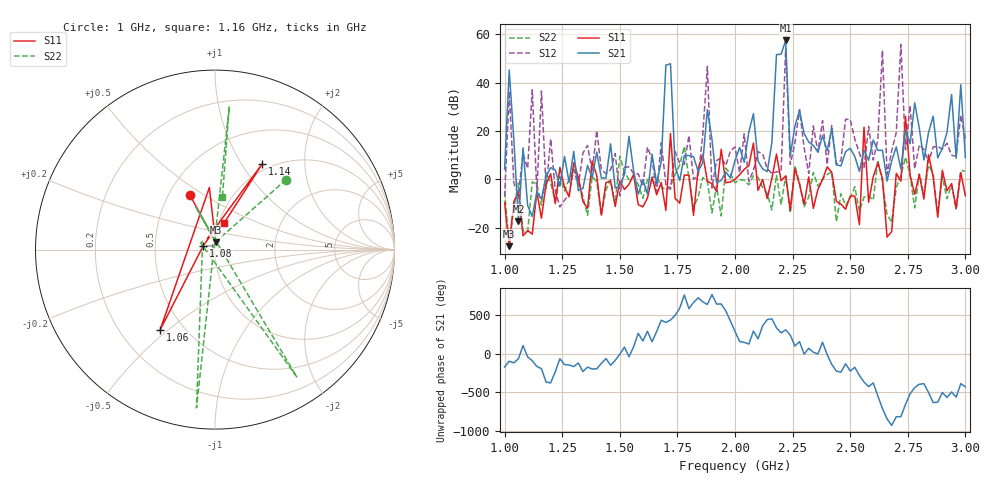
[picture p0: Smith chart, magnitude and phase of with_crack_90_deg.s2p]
# MHz S MA R 50
!  freq  S11  S21  S12  S22
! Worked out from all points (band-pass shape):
!   101 points, 1 GHz to 3 GHz, reference 50 ohm
!   highest |S21| = 57.42 dB at 2.22 GHz (marker M1); lowest = -17.3 dB at 1.06 GHz (marker M2)
!   |S21| within 3 dB of the highest: 2.209 GHz to 2.221 GHz (11.86 MHz wide, 0.535 % of centre)
!   lowest |S11| = -27.6 dB at 1.02 GHz (marker M3), VSWR 1.09, Z = 50.1 + j4.19 ohm
!   |S11| at or under -10 dB: 1.065 GHz to 1.135 GHz (69.32 MHz wide, 6.3 % of centre); 1.579 GHz to 1.607 GHz (27.99 MHz wide, 1.76 % of centre); 2.456 GHz to 2.489 GHz (32.41 MHz wide, 1.31 % of centre) (the widest 3 of 17)
!   |S22| runs from -27.5 to 13.6 dB; largest |S21 - S12| = 6.1e+02
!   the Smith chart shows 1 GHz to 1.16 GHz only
!   S11 on the Smith chart (normalised r, x): 1 GHz: 0.64, +0.44; 1.06 GHz: 0.37, -0.47; 1.08 GHz: 0.88, +0.04; 1.14 GHz: 0.91, +1.24; 1.16 GHz: 1.06, +0.32
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1000  0.3322 114.7  1.629 -172.1  0.4442 -174.9  0.5563 44.5
1020  0.04179 85.8  181.9 -97.3  65.19 -91.0  0.04202 86.1
1060  0.5409 -124.4  0.1362 -64.7  0.4826 -86.0  0.8427 -57.3
1080  0.06866 160.8  4.491 106.8  3.431 -91.8  0.08717 155.3
1140  0.5468 61.1  0.5518 -165.6  0.5699 91.3  0.7984 84.3
1160  0.1578 70.9  0.3937 166.2  67.13 -40.9  0.2935 82.0
1340  0.3472 118.2  0.6509 127.3  3.501 -118.4  0.4347 105.5
1680  0.8645 72.6  2.372 75.3  5.675 174.6  0.7183 74.3
2000  1.007 82.9  2.465 -70.3  4.688 48.6  0.8512 125.7
2160  1.047 83.3  5.726 94.2  1.339 125.8  0.2349 4.1
2180  3.33 83.0  379.2 -23.3  1.433 17.5  1.239 21.3
2200  0.943 97.1  387.4 -88.7  1.45 175.0  0.3011 179.9
2220  1.179 -120.4  743.3 -49.2  512 -29.8  1.178 -120.4
2240  0.2291 -117.9  3.136 -117.7  2.051 79.5  0.2027 -110.9
2340  0.2524 -84.4  5.03 19.4  12.78 -73.4  1.396 96.7
2620  2.179 24.1  3.976 170.8  6.647 32.2  2.499 59.2
2640  1.064 19.7  4.004 8.3  464.4 -99.8  0.8931 31.3
2680  0.08337 52.5  2.393 147.3  3.848 160.8  0.1331 3.7
2700  1.333 60.3  4.711 -99.6  9.323 153.6  0.6795 82.9
2720  0.9179 -18.4  1.654 -98.3  611.4 164.3  1.222 61.5
2740  20.19 58.3  10.45 60.8  4.105 120.5  2.872 81.4
3000  0.4582 -34.2  2.822 -69.9  6.767 -99.4  1.464 -71.0
